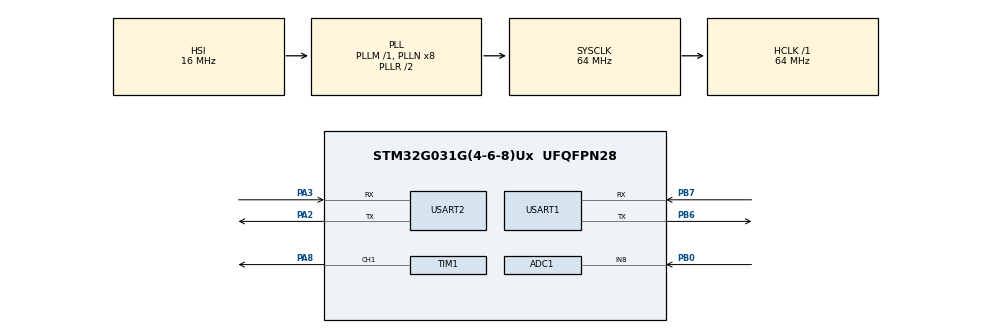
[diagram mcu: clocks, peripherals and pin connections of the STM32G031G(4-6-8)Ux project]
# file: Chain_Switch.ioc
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ADC1.Channel-0\#ChannelRegularConversion=ADC_CHANNEL_8
ADC1.ContinuousConvMode=ENABLE
ADC1.NbrOfConversion=1
ADC1.NbrOfConversionFlag=1
ADC1.Rank-0\#ChannelRegularConversion=1
ADC1.SamplingTime-0\#ChannelRegularConversion=ADC_SAMPLINGTIME_COMMON_1
ADC1.SamplingTimeCommon1=ADC_SAMPLETIME_39CYCLES_5
ADC1.SamplingTimeCommon2=ADC_SAMPLETIME_39CYCLES_5
ADC1.SelectedChannel=ADC_CHANNEL_8
ADC1.master=1
Dma.Request0=USART1_RX
Dma.Request1=USART1_TX
Dma.Request2=USART2_RX
Dma.Request3=USART2_TX
Dma.Request4=TIM1_CH1
Dma.TIM1_CH1.4.Direction=DMA_MEMORY_TO_PERIPH
Dma.TIM1_CH1.4.EventEnable=DISABLE
Dma.TIM1_CH1.4.Instance=DMA1_Channel5
Dma.TIM1_CH1.4.MemDataAlignment=DMA_MDATAALIGN_BYTE
Dma.TIM1_CH1.4.MemInc=DMA_MINC_ENABLE
Dma.TIM1_CH1.4.Mode=DMA_NORMAL
Dma.TIM1_CH1.4.PeriphDataAlignment=DMA_PDATAALIGN_HALFWORD
Dma.TIM1_CH1.4.PeriphInc=DMA_PINC_DISABLE
Dma.TIM1_CH1.4.Polarity=HAL_DMAMUX_REQ_GEN_RISING
Dma.TIM1_CH1.4.Priority=DMA_PRIORITY_LOW
Dma.TIM1_CH1.4.RequestNumber=1
Dma.TIM1_CH1.4.SignalID=NONE
Dma.TIM1_CH1.4.SyncEnable=DISABLE
Dma.TIM1_CH1.4.SyncPolarity=HAL_DMAMUX_SYNC_NO_EVENT
Dma.TIM1_CH1.4.SyncRequestNumber=1
Dma.TIM1_CH1.4.SyncSignalID=NONE
Dma.USART1_RX.0.Direction=DMA_PERIPH_TO_MEMORY
Dma.USART1_RX.0.EventEnable=DISABLE
Dma.USART1_RX.0.Instance=DMA1_Channel1
Dma.USART1_RX.0.MemDataAlignment=DMA_MDATAALIGN_BYTE
Dma.USART1_RX.0.MemInc=DMA_MINC_ENABLE
Dma.USART1_RX.0.Mode=DMA_NORMAL
Dma.USART1_RX.0.PeriphDataAlignment=DMA_PDATAALIGN_BYTE
Dma.USART1_RX.0.PeriphInc=DMA_PINC_DISABLE
Dma.USART1_RX.0.Polarity=HAL_DMAMUX_REQ_GEN_RISING
Dma.USART1_RX.0.Priority=DMA_PRIORITY_LOW
Dma.USART1_RX.0.RequestNumber=1
Dma.USART1_RX.0.SignalID=NONE
Dma.USART1_RX.0.SyncEnable=DISABLE
Dma.USART1_RX.0.SyncPolarity=HAL_DMAMUX_SYNC_NO_EVENT
Dma.USART1_RX.0.SyncRequestNumber=1
Dma.USART1_RX.0.SyncSignalID=NONE
Dma.USART1_TX.1.Direction=DMA_MEMORY_TO_PERIPH
Dma.USART1_TX.1.EventEnable=DISABLE
Dma.USART1_TX.1.Instance=DMA1_Channel2
Dma.USART1_TX.1.MemDataAlignment=DMA_MDATAALIGN_BYTE
Dma.USART1_TX.1.MemInc=DMA_MINC_ENABLE
Dma.USART1_TX.1.Mode=DMA_NORMAL
Dma.USART1_TX.1.PeriphDataAlignment=DMA_PDATAALIGN_BYTE
Dma.USART1_TX.1.PeriphInc=DMA_PINC_DISABLE
Dma.USART1_TX.1.Polarity=HAL_DMAMUX_REQ_GEN_RISING
Dma.USART1_TX.1.Priority=DMA_PRIORITY_LOW
Dma.USART1_TX.1.RequestNumber=1
Dma.USART1_TX.1.SignalID=NONE
Dma.USART1_TX.1.SyncEnable=DISABLE
Dma.USART1_TX.1.SyncPolarity=HAL_DMAMUX_SYNC_NO_EVENT
Dma.USART1_TX.1.SyncRequestNumber=1
Dma.USART1_TX.1.SyncSignalID=NONE
Dma.USART2_RX.2.Direction=DMA_PERIPH_TO_MEMORY
Dma.USART2_RX.2.EventEnable=DISABLE
Dma.USART2_RX.2.Instance=DMA1_Channel3
Dma.USART2_RX.2.MemDataAlignment=DMA_MDATAALIGN_BYTE
Dma.USART2_RX.2.MemInc=DMA_MINC_ENABLE
Dma.USART2_RX.2.Mode=DMA_NORMAL
Dma.USART2_RX.2.PeriphDataAlignment=DMA_PDATAALIGN_BYTE
Dma.USART2_RX.2.PeriphInc=DMA_PINC_DISABLE
Dma.USART2_RX.2.Polarity=HAL_DMAMUX_REQ_GEN_RISING
Dma.USART2_RX.2.Priority=DMA_PRIORITY_LOW
Dma.USART2_RX.2.RequestNumber=1
Dma.USART2_RX.2.SignalID=NONE
Dma.USART2_RX.2.SyncEnable=DISABLE
Dma.USART2_RX.2.SyncPolarity=HAL_DMAMUX_SYNC_NO_EVENT
Dma.USART2_RX.2.SyncRequestNumber=1
Dma.USART2_RX.2.SyncSignalID=NONE
Dma.USART2_TX.3.Direction=DMA_MEMORY_TO_PERIPH
Dma.USART2_TX.3.EventEnable=DISABLE
Dma.USART2_TX.3.Instance=DMA1_Channel4
Dma.USART2_TX.3.MemDataAlignment=DMA_MDATAALIGN_BYTE
Dma.USART2_TX.3.MemInc=DMA_MINC_ENABLE
Dma.USART2_TX.3.Mode=DMA_NORMAL
Dma.USART2_TX.3.PeriphDataAlignment=DMA_PDATAALIGN_BYTE
Dma.USART2_TX.3.PeriphInc=DMA_PINC_DISABLE
Dma.USART2_TX.3.Polarity=HAL_DMAMUX_REQ_GEN_RISING
Dma.USART2_TX.3.Priority=DMA_PRIORITY_LOW
Dma.USART2_TX.3.RequestNumber=1
Dma.USART2_TX.3.SignalID=NONE
Dma.USART2_TX.3.SyncEnable=DISABLE
Dma.USART2_TX.3.SyncPolarity=HAL_DMAMUX_SYNC_NO_EVENT
Dma.USART2_TX.3.SyncRequestNumber=1
Dma.USART2_TX.3.SyncSignalID=NONE
IWDG.Prescaler=IWDG_PRESCALER_16
Mcu.Family=STM32G0
Mcu.Name=STM32G031G(4-6-8)Ux
Mcu.Package=UFQFPN28
NVIC.DMA1_Ch4_5_DMAMUX1_OVR_IRQn=true\:1\:0\:true\:false\:true\:false\:true\:true
NVIC.DMA1_Channel1_IRQn=true\:1\:0\:true\:false\:true\:false\:true\:true
NVIC.DMA1_Channel2_3_IRQn=true\:1\:0\:true\:false\:true\:false\:true\:true
NVIC.FLASH_IRQn=true\:1\:0\:true\:false\:true\:true\:true\:true
NVIC.TIM14_IRQn=true\:1\:0\:true\:false\:true\:true\:true\:true
NVIC.TIM16_IRQn=true\:1\:0\:true\:false\:true\:true\:true\:true
NVIC.USART1_IRQn=true\:0\:0\:false\:false\:true\:false\:true\:true
NVIC.USART2_IRQn=true\:0\:0\:false\:false\:true\:false\:true\:true
PA2.GPIO_PuPd=GPIO_PULLUP
PA2.GPIO_Speed=GPIO_SPEED_FREQ_HIGH
PA2.Mode=Asynchronous
PA2.PinState=GPIO_PIN_RESET
PA2.Signal=USART2_TX
PA3.GPIO_PuPd=GPIO_PULLUP
PA3.GPIO_Speed=GPIO_SPEED_FREQ_HIGH
PA3.Mode=Asynchronous
PA3.PinState=GPIO_PIN_RESET
PA3.Signal=USART2_RX
PA8.Signal=S_TIM1_CH1
PB0.Mode=IN8
PB0.Signal=ADC1_IN8
PB6.GPIO_PuPd=GPIO_PULLUP
PB6.GPIO_Speed=GPIO_SPEED_FREQ_HIGH
PB6.Mode=Asynchronous
PB6.Signal=USART1_TX
PB7.GPIO_PuPd=GPIO_PULLUP
PB7.GPIO_Speed=GPIO_SPEED_FREQ_HIGH
PB7.Mode=Asynchronous
PB7.Signal=USART1_RX
ProjectManager.HeapSize=0x200
ProjectManager.StackSize=0x400
ProjectManager.TargetToolchain=STM32CubeIDE
RCC.ADCFreq_Value=64000000
RCC.AHBFreq_Value=64000000
RCC.CortexFreq_Value=64000000
RCC.EXTERNAL_CLOCK_VALUE=12288000
RCC.HCLKFreq_Value=64000000
RCC.HSE_VALUE=8000000
RCC.HSI_VALUE=16000000
RCC.LSE_VALUE=32768
RCC.PLLQ=RCC_PLLQ_DIV4
RCC.SYSCLKFreq_VALUE=64000000
RCC.SYSCLKSource=RCC_SYSCLKSOURCE_PLLCLK
RCC.VCOOutputFreq_Value=128000000
SH.S_TIM1_CH1.0=TIM1_CH1,PWM Generation1 CH1
TIM1.Channel-PWM\ Generation1\ CH1=TIM_CHANNEL_1
TIM1.Period=79
TIM14.AutoReloadPreload=TIM_AUTORELOAD_PRELOAD_ENABLE
TIM14.Period=1699
TIM14.Prescaler=6399
TIM16.Period=29999
TIM16.Prescaler=6399
TIM17.Period=9999
TIM17.Prescaler=6399
USART1.VirtualMode-Asynchronous=VM_ASYNC
USART2.VirtualMode-Asynchronous=VM_ASYNC
VP_IWDG_VS_IWDG.Mode=IWDG_Activate
VP_TIM14_VS_ClockSourceINT.Mode=Enable_Timer
VP_TIM16_VS_ClockSourceINT.Mode=Enable_Timer
VP_TIM17_VS_ClockSourceINT.Mode=Enable_Timer
VP_TIM1_VS_ClockSourceINT.Mode=Internal
board=custom

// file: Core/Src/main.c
/* USER CODE BEGIN Header */
/**
 ******************************************************************************
 * @file           : main.c
 * @brief          : Main program body
 ******************************************************************************
 * @attention
 *
 * Copyright (c) 2024 STMicroelectronics.
 * All rights reserved.
 *
 * This software is licensed under terms that can be found in the LICENSE file
 * in the root directory of this software component.
 * If no LICENSE file comes with this software, it is provided AS-IS.
 *
 ******************************************************************************
 */
/* USER CODE END Header */
#include "main.h"
#include "adc.h"
#include "dma.h"
#include "iwdg.h"
#include "tim.h"
#include "usart.h"
#include "gpio.h"

/* USER CODE BEGIN Includes */
#include "RGB.h"
#include "myflash.h"
#include "switch_function.h"
#include "base_function.h"
/* USER CODE END Includes */

/* USER CODE BEGIN PV */
// DMA receive buffers
__IO uint8_t g_uart_in_rx_buf[UART_BUFFER_SIZE][BUFFER_SIZE * 2];   // uart_in
                                                                    // receive
                                                                    // buffer for
                                                                    // DMA
__IO uint8_t g_uart_out_rx_buf[UART_BUFFER_SIZE][BUFFER_SIZE * 2];  // uart_out
                                                                    // receive
                                                                    // buffer for
                                                                    // DMA

// Transmission status for UART
__IO uint8_t g_uart_in_rx_index  = 0;  // Index for UART input (receiving) buffer position
__IO uint8_t g_uart_out_rx_index = 0;  // Index for UART output (receiving) buffer position

// Transmission complete flags for UART
__IO uint8_t g_uart_in_transmit_complete  = 1;  // Flag indicating if uart_in transmission is complete (1: complete)
__IO uint8_t g_uart_out_transmit_complete = 1;  // Flag indicating if uart_out transmission is complete (1: complete)

// Command buffer and related variables
__IO uint8_t g_cmd_buf[BUFFER_SIZE] = {0};                    // Command buffer initialized to zero
__IO uint8_t g_cmd_size             = 0;                      // Size of the command currently in the buffer
__IO uint8_t g_cmd_status           = CMD_SPACE_IDLE_STATUS;  // Status of the command processing

// Device status variables
__IO uint8_t g_tail_status        = CHAIN_TAIL_DEVICE;  // Status of the tail device in the chain
__IO uint8_t g_heart_beat_record  = 0;                  // Heartbeat record for monitoring device status
__IO uint8_t g_bootloader_version = 0;                  // Version of the bootloader
__IO uint8_t g_firmware_version   = SOFTWARE_VERSION;   // Version of the firmware

// Device type information
__IO uint16_t g_device_type =
    (uint8_t)((PRODUCT_TYPE_HIGH << 8) | PRODUCT_TYPE_LOW);  // Combined product type from high and low bytes
__IO uint8_t g_light = 0;                                    // Light status or value

// Switch open&close threshold
__IO uint32_t g_threshold = 0;

__IO uint16_t s_switch_threshold_open  = 0;  // Switch open threshold
__IO uint16_t s_switch_threshold_close = 0;  // Switch close threshold

__IO uint8_t g_slip_mode_status = 1;  // Status indicating the direction of rotation, defaule:1
                                      // (0: up-to-down, 1: down-to-up)
__IO uint8_t g_uid[12] = {0};         // Unique identifier

/* USER CODE END PV */

void SystemClock_Config(void);

/* USER CODE BEGIN 0 */
/**
 * @brief Set the Interrupt Vector Table for the application in SRAM.
 * @param None
 * @retval None
 */
void iap_set(void)
{
    uint8_t i;                                     // Loop index
    uint32_t *pVecTab = (uint32_t *)(0x20000000);  // Pointer to the vector table in SRAM

    // Copy the interrupt vector table from the application address to SRAM
    for (i = 0; i < 48; i++) {
        // Copy each vector entry to the SRAM vector table
        *(pVecTab++) = *(__IO uint32_t *)(APPLICATION_ADDRESS + (i << 2));
    }

    // Enable the SYSCFG peripheral clock
    __HAL_RCC_SYSCFG_CLK_ENABLE();

    // Remap the memory to use SRAM for the vector table
    __HAL_SYSCFG_REMAPMEMORY_SRAM();
}

/**
 * @brief Initialize the chain device settings.
 * @param None
 * @retval None
 */
void chain_init(void)
{
    // Retrieve bootloader version number
    g_bootloader_version = get_bootloader_version();

    // Check the clockwise status
    if (get_slip_mode_status() == 0xFF) {              // If the status is not set
        g_slip_mode_status = CHAIN_SWITCH_DOWNUP_INC;  // Set to default clockwise increment value
        set_slip_mode_status(g_slip_mode_status);      // Update the status in the system
    } else {
        g_slip_mode_status = get_slip_mode_status();  // Retrieve the current clockwise status
    }

    // Check the RGB light status
    if (get_rgb_light() == 0xFF) {  // If the RGB light status is not set
        g_light = RGB_LIGHT_BASE;   // Set to the base light value
        set_rgb_light(g_light);     // Update the light status in the system
    } else {
        g_light = get_rgb_light();  // Retrieve the current RGB light status
    }

    // Check the threshold value
    if (get_slip_threshold() == 0xFFFFFFFF) {  // If the threshold is not set
        g_threshold = SLIP_THRESHOLD_DEAULT;   // Set to the default threshold

        uint8_t threshold_open_low   = g_threshold >> 24;
        uint8_t threshold_open_high  = g_threshold >> 16;
        uint8_t threshold_close_low  = g_threshold >> 8;
        uint8_t threshold_close_high = g_threshold;

        set_switch_threshold(g_threshold, threshold_open_low, threshold_open_high, threshold_close_low,
                             threshold_close_high);  // Update the threshold in the system
    } else {
        g_threshold              = get_slip_threshold();  // Retrieve the current threshold value
        uint16_t tmp             = g_threshold >> 16;
        s_switch_threshold_open  = ((tmp & 0xFF) << 8) + ((tmp >> 8) & 0xFF);
        s_switch_threshold_close = ((g_threshold & 0xFF) << 8) + ((g_threshold >> 8) & 0xFF);
    }
}

void read_uid(void)
{
    uint32_t uid0 = HAL_GetUIDw0();
    uint32_t uid1 = HAL_GetUIDw1();
    uint32_t uid2 = HAL_GetUIDw2();

    memcpy(&g_uid[0], &uid0, 4);
    memcpy(&g_uid[4], &uid1, 4);
    memcpy(&g_uid[8], &uid2, 4);
}

/* USER CODE END 0 */

int main(void)
{
    /* USER CODE BEGIN 1 */
    iap_set();
    chain_init();
    read_uid();
    /* USER CODE END 1 */

    /* MCU Configuration--------------------------------------------------------*/

    /* Reset of all peripherals, Initializes the Flash interface and the Systick.
     */
    HAL_Init();

    /* Configure the system clock */
    SystemClock_Config();

    /* Initialize all configured peripherals */
    MX_GPIO_Init();
    MX_DMA_Init();
    MX_USART1_UART_Init();
    MX_USART2_UART_Init();
    MX_IWDG_Init();
    MX_TIM14_Init();
    MX_TIM1_Init();
    MX_TIM16_Init();
    MX_ADC1_Init();
    MX_TIM17_Init();
    /* USER CODE BEGIN 2 */
    rgb_init();
    HAL_ADCEx_Calibration_Start(&hadc1);
    HAL_Delay(1);
    LL_TIM_ClearFlag_UPDATE(TIM14);  // Clear update TIM14
    LL_TIM_EnableIT_UPDATE(TIM14);   // ENABLE TIM14
    LL_TIM_EnableCounter(TIM14);     // ENABLE TIM14
    HAL_Delay(1);
    LL_TIM_ClearFlag_UPDATE(TIM17);  // Clear update TIM17
    LL_TIM_EnableIT_UPDATE(TIM17);   // ENABLE TIM17
    LL_TIM_EnableCounter(TIM17);     // ENABLE TIM17
    HAL_Delay(1);
    LL_TIM_ClearFlag_UPDATE(TIM16);  // Clear update TIM16
    LL_TIM_EnableIT_UPDATE(TIM16);   // ENABLE TIM16
    LL_TIM_EnableCounter(TIM16);     // ENABLE TIM16
    HAL_Delay(1);
    /* USER CODE END 2 */

    /* Infinite loop */
    /* USER CODE BEGIN WHILE */
    while (1) {
        if (g_cmd_status == CMD_SPACE_BUSY_STATUS) {
            switch (g_cmd_buf[0]) {
                case CHAIN_GET_UID:
                    chain_get_uid_handle(g_cmd_buf[1]);
                    break;
                case CHAIN_SWITCH_GET_8ADC:
                    chain_switch_get_8value();
                    break;
                case CHAIN_SWITCH_GET_12ADC:
                    chain_switch_get_12value();
                    break;
                case CHAIN_SWITCH_SET_SLIP_MODE:
                    chain_switch_set_slip_mode(g_cmd_buf[1], g_cmd_buf[2]);
                    break;
                case CHAIN_SWITCH_GET_SLIP_MODE:
                    chain_switch_get_slip_mode();
                    break;
                case CHAIN_SWITCH_SET_SWITCH_THRESHOLD:
                    chain_switch_set_switch_threshold(g_cmd_buf[1], g_cmd_buf[2], g_cmd_buf[3], g_cmd_buf[4],
                                                      g_cmd_buf[5]);
                    break;
                case CHAIN_SWITCH_GET_SWITCH_THRESHOLD:
                    chain_switch_get_switch_threshold();
                    break;
                case CHAIN_SWITCH_GET_SWITCH_STATUS:
                    chain_switch_get_slip_status();
                    break;
                case CHAIN_SET_RGB_VALUE:
                    chain_set_rgb_value((uint8_t *)(g_cmd_buf + 1), (g_cmd_size - 1));
                    break;
                case CHAIN_GET_RGB_VALUE:
                    chain_get_rgb_value((uint8_t *)(g_cmd_buf + 1), (g_cmd_size - 1));
                    break;
                case CHAIN_SET_RGB_LIGHT:
                    chain_set_light_value(g_cmd_buf[1], g_cmd_buf[2]);
                    break;
                case CHAIN_GET_RGB_LIGHT:
                    chain_get_light_value();
                    break;
                case CHAIN_SWITCH_SET_REPORT_SWITCH_STATUS:
                    chain_switch_set_auto_send_status(g_cmd_buf[1]);
                    break;
                case CHAIN_SWITCH_GET_REPORT_SWITCH_STATUS:
                    chain_switch_get_auto_send_status();
                    break;
                case CHAIN_GET_BOOTLOADER_VERSION:
                    chain_get_bootloader_version_handle();
                    break;
                case CHAIN_GET_VERSION_DEVICE:
                    chain_get_firmware_version_handle();
                    break;
                case CHAIN_GET_DEVICE_TYPE:
                    chain_get_device_type_handle();
                    break;
                case CHAIN_IAP_UPDATE:
                    chain_iap_update_handle(g_cmd_buf[1]);
                    break;
                default:
                    break;
            }
            g_cmd_status = CMD_SPACE_IDLE_STATUS;
        }
        /* USER CODE END WHILE */

        /* USER CODE BEGIN 3 */
        adc_value_update();
        switch_status_update();  // update switch status
        rgb_update();
        LL_IWDG_ReloadCounter(IWDG);
    }
    /* USER CODE END 3 */
}

void SystemClock_Config(void)
{
    RCC_OscInitTypeDef RCC_OscInitStruct = {0};
    RCC_ClkInitTypeDef RCC_ClkInitStruct = {0};

    /** Configure the main internal regulator output voltage
     */
    HAL_PWREx_ControlVoltageScaling(PWR_REGULATOR_VOLTAGE_SCALE1);

    /** Initializes the RCC Oscillators according to the specified parameters
     * in the RCC_OscInitTypeDef structure.
     */
    RCC_OscInitStruct.OscillatorType      = RCC_OSCILLATORTYPE_HSI | RCC_OSCILLATORTYPE_LSI;
    RCC_OscInitStruct.HSIState            = RCC_HSI_ON;
    RCC_OscInitStruct.HSIDiv              = RCC_HSI_DIV1;
    RCC_OscInitStruct.HSICalibrationValue = RCC_HSICALIBRATION_DEFAULT;
    RCC_OscInitStruct.LSIState            = RCC_LSI_ON;
    RCC_OscInitStruct.PLL.PLLState        = RCC_PLL_ON;
    RCC_OscInitStruct.PLL.PLLSource       = RCC_PLLSOURCE_HSI;
    RCC_OscInitStruct.PLL.PLLM            = RCC_PLLM_DIV1;
    RCC_OscInitStruct.PLL.PLLN            = 8;
    RCC_OscInitStruct.PLL.PLLP            = RCC_PLLP_DIV2;
    RCC_OscInitStruct.PLL.PLLQ            = RCC_PLLQ_DIV4;
    RCC_OscInitStruct.PLL.PLLR            = RCC_PLLR_DIV2;
    if (HAL_RCC_OscConfig(&RCC_OscInitStruct) != HAL_OK) {
        Error_Handler();
    }

    /** Initializes the CPU, AHB and APB buses clocks
     */
    RCC_ClkInitStruct.ClockType      = RCC_CLOCKTYPE_HCLK | RCC_CLOCKTYPE_SYSCLK | RCC_CLOCKTYPE_PCLK1;
    RCC_ClkInitStruct.SYSCLKSource   = RCC_SYSCLKSOURCE_PLLCLK;
    RCC_ClkInitStruct.AHBCLKDivider  = RCC_SYSCLK_DIV1;
    RCC_ClkInitStruct.APB1CLKDivider = RCC_HCLK_DIV1;

    if (HAL_RCC_ClockConfig(&RCC_ClkInitStruct, FLASH_LATENCY_2) != HAL_OK) {
        Error_Handler();
    }
}

void Error_Handler(void)
{
    __disable_irq();
    while (1) {
    }
}

#ifdef USE_FULL_ASSERT
/**
 * @brief  Reports the name of the source file and the source line number
 *         where the assert_param error has occurred.
 * @param  file: pointer to the source file name
 * @param  line: assert_param error line source number
 * @retval None
 */
void assert_failed(uint8_t *file, uint32_t line)
{
    /* USER CODE BEGIN 6 */
    /* User can add his own implementation to report the file name and line
       number,
       ex: printf("Wrong parameters value: file %s on line %d\r\n", file, line) */
    /* USER CODE END 6 */
}
#endif /* USE_FULL_ASSERT */
